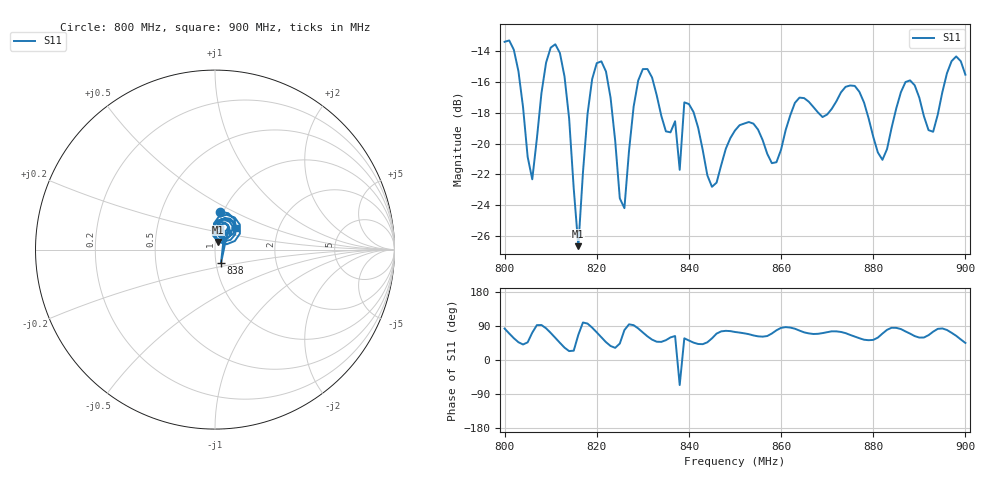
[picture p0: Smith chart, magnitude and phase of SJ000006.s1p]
!File created by NanoVNA-F V2
# Hz S RI R 50
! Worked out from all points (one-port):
!   101 points, 800 MHz to 900 MHz, reference 50 ohm
!   lowest |S11| = -26.6 dB at 816 MHz (marker M1), VSWR 1.10, Z = 51.7 + j4.42 ohm
!   |S11| at or under -10 dB: start of sweep to end of sweep
!   S11 on the Smith chart (normalised r, x): 800 MHz: 0.96, +0.43; 838 MHz: 1.06, -0.16; 900 MHz: 1.23, +0.30
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8e8  0.0262 0.212
8.03e8  0.1172 0.1253
8.06e8  0.0235 0.0729
8.1e8  0.0647 0.194
8.13e8  0.1388 0.0891
8.16e8  0.0186 0.0427
8.18e8  -0.0133 0.1241
8.2e8  0.0537 0.1741
8.23e8  0.1124 0.0845
8.25e8  0.0483 0.0456
8.26e8  0.0119 0.0606
8.28e8  -0.00444 0.1316
8.3e8  0.0518 0.1664
8.35e8  0.0671 0.0867
8.37e8  0.0532 0.1055
8.38e8  0.0334 -0.0752
8.39e8  0.0735 0.1144
8.45e8  0.0394 0.0608
8.5e8  0.0305 0.106
8.59e8  0.0174 0.0853
8.63e8  0.0175 0.1344
8.69e8  0.0397 0.1152
8.75e8  0.0623 0.1411
8.82e8  0.0307 0.0831
8.88e8  0.056 0.1501
8.93e8  0.0288 0.1054
8.97e8  0.0577 0.1757
9e8  0.1182 0.1182
